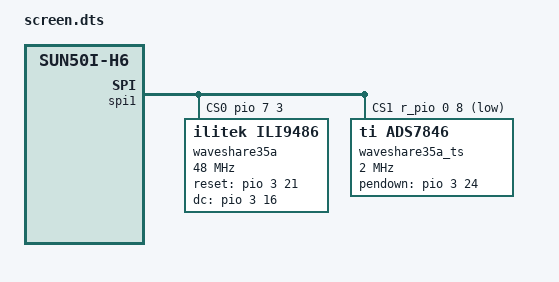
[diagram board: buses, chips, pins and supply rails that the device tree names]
/dts-v1/;
/plugin/;

/ {
    compatible = "allwinner,sun50i-h6";
    
    fragment@0 {
        target = <&r_pio>;
        __overlay__ {
            spi1_cs1_pin: spi1-cs1-pin {
                pins = "PL8";
                function = "gpio_out";
                output-high;
                drive-strength = <20>;
                bias-pull-up;
            };
        };
    };
    
    fragment@1 {
        target = <&pio>;
        __overlay__ {
            touch_pin: touch-pin {
                pins = "PD24";
                function = "gpio_in";
                bias-pull-up;
            };
        };
    };

    fragment@2 {
        target = <&spi1>;
        __overlay__ {
            status = "okay";
            cs-gpios = <&pio 7 3 0>, <&r_pio 0 8 1>;
            num-chipselects = <2>;
            #address-cells = <1>;
            #size-cells = <0>;
            
            waveshare35a: waveshare35a@0 {
                compatible = "ilitek,ili9486";
                reg = <0>;
                pinctrl-names = "default", "default";
                
                spi-max-frequency = <48000000>;
                txbuflen = <32768>;
                rotate = <90>;
                bgr = <0>;
                fps = <30>;
                buswidth = <8>;
                regwidth = <16>;
                   
                /* 制御ピン: PD21=RESET, PD16=DC */
                reset-gpios = <&pio 3 21 0>;  /* PD21, active high */
                dc-gpios = <&pio 3 16 0>;     /* PD16, active high */
                debug = <0>;

                /* ILI9486初期化シーケンス */
                init = <0x10000b0 0x00
                        0x1000011
                        0x20000ff
                        0x100003a 0x55
                        0x1000036 0x28
                        0x10000c2 0x44
                        0x10000c5 0x00 0x00 0x00 0x00
                        0x10000e0 0x0f 0x1f 0x1c 0x0c 0x0f 0x08 0x48 0x98 0x37 0x0a 0x13 0x04 0x11 0x0d 0x00
                        0x10000e1 0x0f 0x32 0x2e 0x0b 0x0d 0x05 0x47 0x75 0x37 0x06 0x10 0x03 0x24 0x20 0x00
                        0x10000e2 0x0f 0x32 0x2e 0x0b 0x0d 0x05 0x47 0x75 0x37 0x06 0x10 0x03 0x24 0x20 0x00
                        0x1000036 0x28
                        0x1000011
                        0x1000029>;
            };
            
            /* ADS7846 Touch Panel - CS1 (PL8) */
            waveshare35a_ts: waveshare35a-ts@1 {
                compatible = "ti,ads7846";
                reg = <1>;
                pinctrl-names = "default";
                pinctrl-0 = <&touch_pin>;
                
                spi-max-frequency = <2000000>;
                
                /* 割り込み設定: PD24 */
                //interrupts-extended = <&pio 3 24 2>;
                pendown-gpio = <&pio 3 24 0>;

                ti,x-plate-ohms = /bits/ 16 <60>;
                ti,pressure-max = /bits/ 16 <255>;
            };
        };
    };

    __overrides__ {
        speed =         <&waveshare35a>,"spi-max-frequency:0";
        txbuflen =      <&waveshare35a>,"txbuflen:0";
        rotate =        <&waveshare35a>,"rotate:0";
        fps =           <&waveshare35a>,"fps:0";
        bgr =           <&waveshare35a>,"bgr:0";
        debug =         <&waveshare35a>,"debug:0";
        invertx =       <&waveshare35a_ts>,"touchscreen-inverted-x?";
        inverty =       <&waveshare35a_ts>,"touchscreen-inverted-y?";
        swapxy =        <&waveshare35a_ts>,"touchscreen-swapped-x-y?";
    };
};
